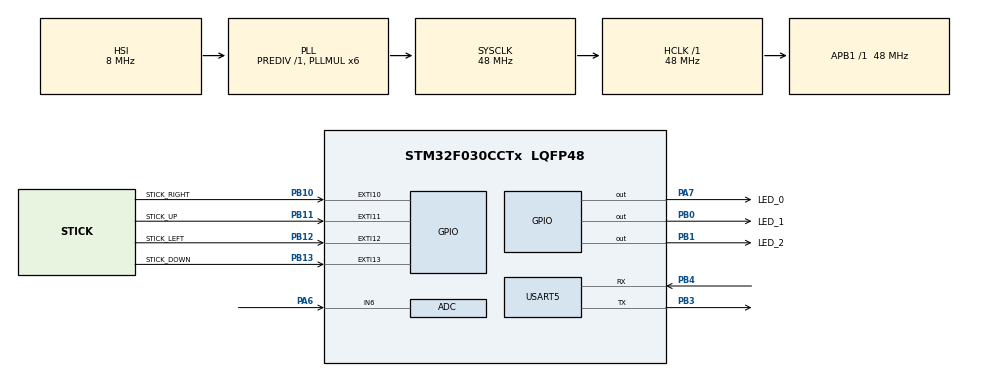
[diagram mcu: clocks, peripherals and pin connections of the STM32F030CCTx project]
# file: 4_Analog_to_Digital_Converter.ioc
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ADC.ClockPrescaler=ADC_CLOCK_ASYNC_DIV1
ADC.ContinuousConvMode=ENABLE
ADC.Overrun=ADC_OVR_DATA_OVERWRITTEN
ADC.SamplingTime=ADC_SAMPLETIME_239CYCLES_5
Mcu.Family=STM32F0
Mcu.Name=STM32F030CCTx
Mcu.Package=LQFP48
NVIC.EXTI4_15_IRQn=true\:0\:0\:false\:false\:true\:true\:true\:true
NVIC.USART3_6_IRQn=true\:3\:0\:true\:false\:true\:true\:true\:true
PA6.Mode=IN6
PA6.Signal=ADC_IN6
PA7.GPIO_Label=LED_0
PA7.Signal=GPIO_Output
PB0.GPIO_Label=LED_1
PB0.Signal=GPIO_Output
PB1.GPIO_Label=LED_2
PB1.Signal=GPIO_Output
PB10.GPIO_Label=STICK_RIGHT
PB10.Signal=GPXTI10
PB11.GPIO_Label=STICK_UP
PB11.Signal=GPXTI11
PB12.GPIO_Label=STICK_LEFT
PB12.Signal=GPXTI12
PB13.GPIO_Label=STICK_DOWN
PB13.Signal=GPXTI13
PB3.Mode=Asynchronous
PB3.Signal=USART5_TX
PB4.Mode=Asynchronous
PB4.Signal=USART5_RX
ProjectManager.HeapSize=0x200
ProjectManager.StackSize=0x400
ProjectManager.TargetToolchain=STM32CubeIDE
RCC.AHBFreq_Value=48000000
RCC.APB1Freq_Value=48000000
RCC.APB1TimFreq_Value=48000000
RCC.HCLKFreq_Value=48000000
RCC.PLLMUL=RCC_PLL_MUL6
RCC.SYSCLKFreq_VALUE=48000000
RCC.SYSCLKSource=RCC_SYSCLKSOURCE_PLLCLK
USART5.VirtualMode-Asynchronous=VM_ASYNC
board=custom

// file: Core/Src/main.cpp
/* USER CODE BEGIN Header */
/**
  ******************************************************************************
  * @file           : main.c
  * @brief          : Main program body
  ******************************************************************************
  * @attention
  *
  * Copyright (c) 2024 STMicroelectronics.
  * All rights reserved.
  *
  * This software is licensed under terms that can be found in the LICENSE file
  * in the root directory of this software component.
  * If no LICENSE file comes with this software, it is provided AS-IS.
  *
  ******************************************************************************
  */
/* USER CODE END Header */
#include "main.h"

/* USER CODE BEGIN Includes */
#include "light_sensor.h"
#include "uart_helper.h"

/* USER CODE END Includes */

ADC_HandleTypeDef hadc;

UART_HandleTypeDef huart5;

/* USER CODE BEGIN PV */
light_sensor *myLightSensor;

/* USER CODE END PV */

void SystemClock_Config(void);
static void MX_GPIO_Init(void);
static void MX_ADC_Init(void);
static void MX_USART5_UART_Init(void);

/* USER CODE BEGIN 0 */
void HAL_GPIO_EXTI_Callback(uint16_t GPIO_Pin)
{
    if (GPIO_Pin == STICK_DOWN_Pin || GPIO_Pin == STICK_UP_Pin)
    {
    }
    else if (GPIO_Pin == STICK_LEFT_Pin)
    {
        // set the max value of the light sensor
        myLightSensor->calibrate_max();
    }
    else if (GPIO_Pin == STICK_RIGHT_Pin)
    {
        // set the min value of the light sensor
        myLightSensor->calibrate_min();
    }
    else
    {
        // reset
        __NOP();
    }
}

/* USER CODE END 0 */

int main(void)
{

    /* MCU Configuration--------------------------------------------------------*/

    /* Reset of all peripherals, Initializes the Flash interface and the Systick. */
    HAL_Init();

    /* Configure the system clock */
    SystemClock_Config();

    /* Initialize all configured peripherals */
    MX_GPIO_Init();
    MX_ADC_Init();
    MX_USART5_UART_Init();
    /* USER CODE BEGIN 2 */
    HAL_InitTick(0);  // Set TickPriority to 0 s.t. HAL_Delay() can be called from EXTI interrupt
    myLightSensor = new light_sensor;

    while (1)
    {
        uint32_t num_measurements = uart::read_num();
        uint32_t additional_delay = uart::read_num();

        // Wait for calibration
        if (!myLightSensor->calibration.get_calibrated())
        {
            uart::write_msg("Ready to calibrate.");
            while (!myLightSensor->calibration.get_calibrated()) {}
        }
        uart::write_calibration(&myLightSensor->calibration);

        uart::write_header();
        uint32_t measurement_start_ms = HAL_GetTick(); // the start of the measurements in ms

        double illuminance;
        for (uint32_t i = 0; i < num_measurements; i++)
        {
            // in case of recalibration, wait until calibration has finished
            while (!myLightSensor->calibration.get_calibrated()) {}

            // get measurement
            illuminance = myLightSensor->read_illuminance();
            double current_s = ((double) HAL_GetTick() - measurement_start_ms) / 1000; // current time since measurement_start_ms in s

            uart::write_data(&current_s, &illuminance);

            if (additional_delay > 0)
                HAL_Delay(additional_delay);
        }
        uart::goodbye();
    }
    /* USER CODE END 2 */

    /* Infinite loop */
    while (1)
    {

    }
}

void SystemClock_Config(void)
{
    RCC_OscInitTypeDef RCC_OscInitStruct = {0};
    RCC_ClkInitTypeDef RCC_ClkInitStruct = {0};

    /** Initializes the RCC Oscillators according to the specified parameters
    * in the RCC_OscInitTypeDef structure.
    */
    RCC_OscInitStruct.OscillatorType = RCC_OSCILLATORTYPE_HSI | RCC_OSCILLATORTYPE_HSI14;
    RCC_OscInitStruct.HSIState = RCC_HSI_ON;
    RCC_OscInitStruct.HSI14State = RCC_HSI14_ON;
    RCC_OscInitStruct.HSICalibrationValue = RCC_HSICALIBRATION_DEFAULT;
    RCC_OscInitStruct.HSI14CalibrationValue = 16;
    RCC_OscInitStruct.PLL.PLLState = RCC_PLL_ON;
    RCC_OscInitStruct.PLL.PLLSource = RCC_PLLSOURCE_HSI;
    RCC_OscInitStruct.PLL.PLLMUL = RCC_PLL_MUL6;
    RCC_OscInitStruct.PLL.PREDIV = RCC_PREDIV_DIV1;
    if (HAL_RCC_OscConfig(&RCC_OscInitStruct) != HAL_OK)
    {
        Error_Handler();
    }

    /** Initializes the CPU, AHB and APB buses clocks
    */
    RCC_ClkInitStruct.ClockType = RCC_CLOCKTYPE_HCLK | RCC_CLOCKTYPE_SYSCLK
        | RCC_CLOCKTYPE_PCLK1;
    RCC_ClkInitStruct.SYSCLKSource = RCC_SYSCLKSOURCE_PLLCLK;
    RCC_ClkInitStruct.AHBCLKDivider = RCC_SYSCLK_DIV1;
    RCC_ClkInitStruct.APB1CLKDivider = RCC_HCLK_DIV1;

    if (HAL_RCC_ClockConfig(&RCC_ClkInitStruct, FLASH_LATENCY_1) != HAL_OK)
    {
        Error_Handler();
    }
}

static void MX_ADC_Init(void)
{

    ADC_ChannelConfTypeDef sConfig = {0};

    /** Configure the global features of the ADC (Clock, Resolution, Data Alignment and number of conversion)
    */
    hadc.Instance = ADC1;
    hadc.Init.ClockPrescaler = ADC_CLOCK_ASYNC_DIV1;
    hadc.Init.Resolution = ADC_RESOLUTION_12B;
    hadc.Init.DataAlign = ADC_DATAALIGN_RIGHT;
    hadc.Init.ScanConvMode = ADC_SCAN_DIRECTION_FORWARD;
    hadc.Init.EOCSelection = ADC_EOC_SINGLE_CONV;
    hadc.Init.LowPowerAutoWait = DISABLE;
    hadc.Init.LowPowerAutoPowerOff = DISABLE;
    hadc.Init.ContinuousConvMode = ENABLE;
    hadc.Init.DiscontinuousConvMode = DISABLE;
    hadc.Init.ExternalTrigConv = ADC_SOFTWARE_START;
    hadc.Init.ExternalTrigConvEdge = ADC_EXTERNALTRIGCONVEDGE_NONE;
    hadc.Init.DMAContinuousRequests = DISABLE;
    hadc.Init.Overrun = ADC_OVR_DATA_OVERWRITTEN;
    if (HAL_ADC_Init(&hadc) != HAL_OK)
    {
        Error_Handler();
    }

    /** Configure for the selected ADC regular channel to be converted.
    */
    sConfig.Channel = ADC_CHANNEL_6;
    sConfig.Rank = ADC_RANK_CHANNEL_NUMBER;
    sConfig.SamplingTime = ADC_SAMPLETIME_239CYCLES_5;
    if (HAL_ADC_ConfigChannel(&hadc, &sConfig) != HAL_OK)
    {
        Error_Handler();
    }
    /* USER CODE BEGIN ADC_Init 2 */
    // Start calibration to improve the conversion accuracy
    if (HAL_ADCEx_Calibration_Start(&hadc) != HAL_OK)
        Error_Handler();

    /* USER CODE END ADC_Init 2 */
}

static void MX_USART5_UART_Init(void)
{

    huart5.Instance = USART5;
    huart5.Init.BaudRate = 115200;
    huart5.Init.WordLength = UART_WORDLENGTH_8B;
    huart5.Init.StopBits = UART_STOPBITS_1;
    huart5.Init.Parity = UART_PARITY_NONE;
    huart5.Init.Mode = UART_MODE_TX_RX;
    huart5.Init.HwFlowCtl = UART_HWCONTROL_NONE;
    huart5.Init.OverSampling = UART_OVERSAMPLING_16;
    huart5.Init.OneBitSampling = UART_ONE_BIT_SAMPLE_DISABLE;
    huart5.AdvancedInit.AdvFeatureInit = UART_ADVFEATURE_NO_INIT;
    if (HAL_UART_Init(&huart5) != HAL_OK)
    {
        Error_Handler();
    }
}

static void MX_GPIO_Init(void)
{
    GPIO_InitTypeDef GPIO_InitStruct = {0};

    /* GPIO Ports Clock Enable */
    __HAL_RCC_GPIOA_CLK_ENABLE();
    __HAL_RCC_GPIOB_CLK_ENABLE();

    /*Configure GPIO pin Output Level */
    HAL_GPIO_WritePin(LED_0_GPIO_Port, LED_0_Pin, GPIO_PIN_RESET);

    /*Configure GPIO pin Output Level */
    HAL_GPIO_WritePin(GPIOB, LED_1_Pin|LED_2_Pin, GPIO_PIN_RESET);

    /*Configure GPIO pin : LED_0_Pin */
    GPIO_InitStruct.Pin = LED_0_Pin;
    GPIO_InitStruct.Mode = GPIO_MODE_OUTPUT_PP;
    GPIO_InitStruct.Pull = GPIO_NOPULL;
    GPIO_InitStruct.Speed = GPIO_SPEED_FREQ_LOW;
    HAL_GPIO_Init(LED_0_GPIO_Port, &GPIO_InitStruct);

    /*Configure GPIO pins : LED_1_Pin LED_2_Pin */
    GPIO_InitStruct.Pin = LED_1_Pin|LED_2_Pin;
    GPIO_InitStruct.Mode = GPIO_MODE_OUTPUT_PP;
    GPIO_InitStruct.Pull = GPIO_NOPULL;
    GPIO_InitStruct.Speed = GPIO_SPEED_FREQ_LOW;
    HAL_GPIO_Init(GPIOB, &GPIO_InitStruct);

    /*Configure GPIO pins : STICK_RIGHT_Pin STICK_UP_Pin STICK_LEFT_Pin STICK_DOWN_Pin */
    GPIO_InitStruct.Pin = STICK_RIGHT_Pin | STICK_UP_Pin | STICK_LEFT_Pin | STICK_DOWN_Pin;
    GPIO_InitStruct.Mode = GPIO_MODE_IT_RISING;
    GPIO_InitStruct.Pull = GPIO_NOPULL;
    HAL_GPIO_Init(GPIOB, &GPIO_InitStruct);

    /* EXTI interrupt init*/
    HAL_NVIC_SetPriority(EXTI4_15_IRQn, 3, 0);
    HAL_NVIC_EnableIRQ(EXTI4_15_IRQn);

}

void Error_Handler(void)
{
    __disable_irq();
    while (1)
    {
    }
}
